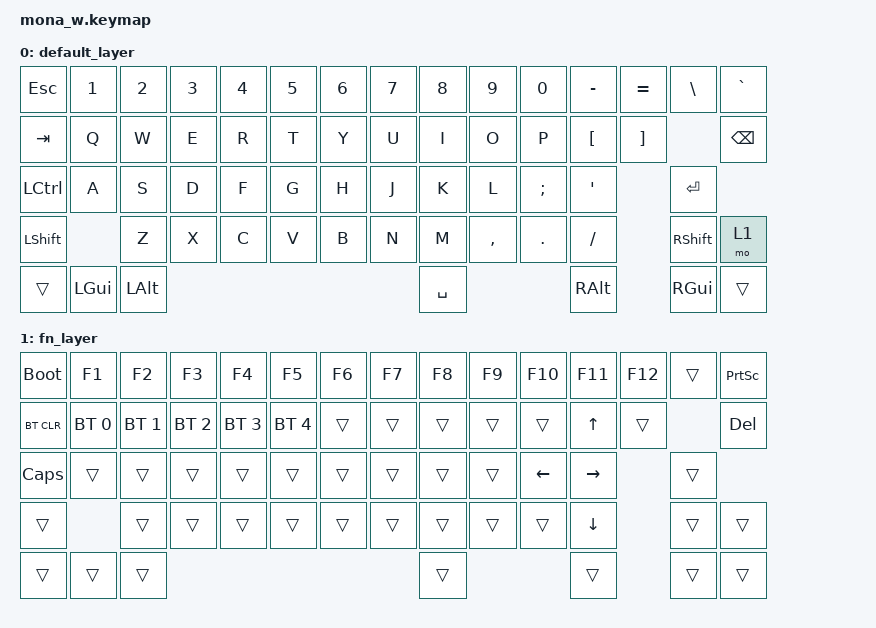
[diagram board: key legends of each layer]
/*
 * Copyright (c) 2023 Ramon Imbao
 *
 * SPDX-License-Identifier: MIT
 */

#include <behaviors.dtsi>
#include <dt-bindings/zmk/bt.h>
#include <dt-bindings/zmk/keys.h>

/ {
    keymap {
        compatible = "zmk,keymap";

        default_layer {
            bindings = <
&kp ESC           &kp N1    &kp N2    &kp N3  &kp N4  &kp N5  &kp N6  &kp N7  &kp N8     &kp N9     &kp N0    &kp MINUS  &kp EQUAL  &kp BSLH   &kp GRAVE
&kp TAB           &kp Q     &kp W     &kp E   &kp R   &kp T   &kp Y   &kp U   &kp I      &kp O      &kp P     &kp LBKT   &kp RBKT              &kp BACKSPACE
&kp LEFT_CONTROL  &kp A     &kp S     &kp D   &kp F   &kp G   &kp H   &kp J   &kp K      &kp L      &kp SEMI  &kp APOS              &kp ENTER
&kp LSHFT                   &kp Z     &kp X   &kp C   &kp V   &kp B   &kp N   &kp M      &kp COMMA  &kp DOT   &kp SLASH             &kp RSHFT  &mo 1
&trans            &kp LGUI  &kp LALT                                          &kp SPACE                       &kp RALT              &kp RGUI   &trans
            >;
        };

        fn_layer {
            bindings = <
&bootloader   &kp F1        &kp F2        &kp F3        &kp F4        &kp F5        &kp F6  &kp F7  &kp F8  &kp F9  &kp F10   &kp F11    &kp F12  &trans  &kp PRINTSCREEN
&bt BT_CLR    &bt BT_SEL 0  &bt BT_SEL 1  &bt BT_SEL 2  &bt BT_SEL 3  &bt BT_SEL 4  &trans  &trans  &trans  &trans  &trans    &kp UP     &trans           &kp DELETE
&kp CAPSLOCK  &trans        &trans        &trans        &trans        &trans        &trans  &trans  &trans  &trans  &kp LEFT  &kp RIGHT           &trans
&trans                      &trans        &trans        &trans        &trans        &trans  &trans  &trans  &trans  &trans    &kp DOWN            &trans  &trans
&trans        &trans        &trans                                                                  &trans                    &trans              &trans  &trans
            >;
        };
    };
};
